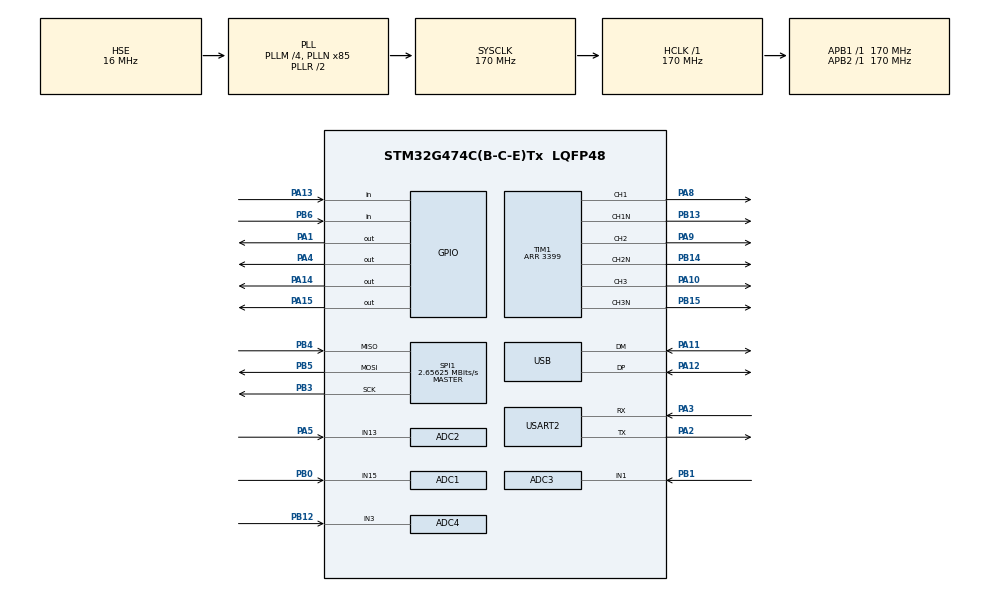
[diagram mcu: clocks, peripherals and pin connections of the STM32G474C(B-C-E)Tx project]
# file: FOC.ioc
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ADC1.ContinuousConvMode=DISABLE
ADC1.DMAContinuousRequests=DISABLE
ADC1.EOCSelection=ADC_EOC_SEQ_CONV
ADC1.EnableInjectedConversion=ENABLE
ADC1.EnableRegularConversion=DISABLE
ADC1.ExternalTrigInjecConv=ADC_EXTERNALTRIGINJEC_T1_TRGO2
ADC1.ExternalTrigInjecConvEdge=ADC_EXTERNALTRIGINJECCONV_EDGE_RISING
ADC1.InjNumberOfConversion=1
ADC1.InjectedChannel-4\#ChannelInjectedConversion=ADC_CHANNEL_15
ADC1.InjectedOffsetNumber-4\#ChannelInjectedConversion=ADC_OFFSET_NONE
ADC1.InjectedRank-4\#ChannelInjectedConversion=1
ADC1.InjectedSamplingTime-4\#ChannelInjectedConversion=ADC_SAMPLETIME_47CYCLES_5
ADC1.master=1
ADC2.ContinuousConvMode=DISABLE
ADC2.DMAContinuousRequests=DISABLE
ADC2.EOCSelection=ADC_EOC_SEQ_CONV
ADC2.EnableInjectedConversion=ENABLE
ADC2.EnableRegularConversion=DISABLE
ADC2.ExternalTrigInjecConv=ADC_EXTERNALTRIGINJEC_T1_TRGO2
ADC2.ExternalTrigInjecConvEdge=ADC_EXTERNALTRIGINJECCONV_EDGE_RISING
ADC2.InjNumberOfConversion=1
ADC2.InjectedChannel-4\#ChannelInjectedConversion=ADC_CHANNEL_13
ADC2.InjectedOffsetNumber-4\#ChannelInjectedConversion=ADC_OFFSET_NONE
ADC2.InjectedRank-4\#ChannelInjectedConversion=1
ADC2.InjectedSamplingTime-4\#ChannelInjectedConversion=ADC_SAMPLETIME_47CYCLES_5
ADC3.ContinuousConvMode=DISABLE
ADC3.DMAContinuousRequests=DISABLE
ADC3.EOCSelection=ADC_EOC_SEQ_CONV
ADC3.EnableInjectedConversion=ENABLE
ADC3.EnableRegularConversion=DISABLE
ADC3.ExternalTrigInjecConv=ADC_EXTERNALTRIGINJEC_T1_TRGO2
ADC3.ExternalTrigInjecConvEdge=ADC_EXTERNALTRIGINJECCONV_EDGE_RISING
ADC3.InjNumberOfConversion=1
ADC3.InjectedChannel-1\#ChannelInjectedConversion=ADC_CHANNEL_1
ADC3.InjectedOffsetNumber-1\#ChannelInjectedConversion=ADC_OFFSET_NONE
ADC3.InjectedRank-1\#ChannelInjectedConversion=1
ADC3.InjectedSamplingTime-1\#ChannelInjectedConversion=ADC_SAMPLETIME_47CYCLES_5
ADC3.master=1
ADC4.Channel-0\#ChannelRegularConversion=ADC_CHANNEL_3
ADC4.NbrOfConversionFlag=1
ADC4.OffsetNumber-0\#ChannelRegularConversion=ADC_OFFSET_NONE
ADC4.Rank-0\#ChannelRegularConversion=1
ADC4.SamplingTime-0\#ChannelRegularConversion=ADC_SAMPLETIME_247CYCLES_5
Dma.Request0=USART2_RX
Dma.Request1=USART2_TX
Dma.Request2=SPI1_RX
Dma.Request3=SPI1_TX
Dma.SPI1_RX.2.Direction=DMA_PERIPH_TO_MEMORY
Dma.SPI1_RX.2.EventEnable=DISABLE
Dma.SPI1_RX.2.Instance=DMA1_Channel4
Dma.SPI1_RX.2.MemDataAlignment=DMA_MDATAALIGN_BYTE
Dma.SPI1_RX.2.MemInc=DMA_MINC_ENABLE
Dma.SPI1_RX.2.Mode=DMA_NORMAL
Dma.SPI1_RX.2.PeriphDataAlignment=DMA_PDATAALIGN_BYTE
Dma.SPI1_RX.2.PeriphInc=DMA_PINC_DISABLE
Dma.SPI1_RX.2.Polarity=HAL_DMAMUX_REQ_GEN_RISING
Dma.SPI1_RX.2.Priority=DMA_PRIORITY_HIGH
Dma.SPI1_RX.2.RequestNumber=1
Dma.SPI1_RX.2.SignalID=NONE
Dma.SPI1_RX.2.SyncEnable=DISABLE
Dma.SPI1_RX.2.SyncPolarity=HAL_DMAMUX_SYNC_NO_EVENT
Dma.SPI1_RX.2.SyncRequestNumber=1
Dma.SPI1_RX.2.SyncSignalID=NONE
Dma.SPI1_TX.3.Direction=DMA_MEMORY_TO_PERIPH
Dma.SPI1_TX.3.EventEnable=DISABLE
Dma.SPI1_TX.3.Instance=DMA1_Channel5
Dma.SPI1_TX.3.MemDataAlignment=DMA_MDATAALIGN_BYTE
Dma.SPI1_TX.3.MemInc=DMA_MINC_ENABLE
Dma.SPI1_TX.3.Mode=DMA_NORMAL
Dma.SPI1_TX.3.PeriphDataAlignment=DMA_PDATAALIGN_BYTE
Dma.SPI1_TX.3.PeriphInc=DMA_PINC_DISABLE
Dma.SPI1_TX.3.Polarity=HAL_DMAMUX_REQ_GEN_RISING
Dma.SPI1_TX.3.Priority=DMA_PRIORITY_HIGH
Dma.SPI1_TX.3.RequestNumber=1
Dma.SPI1_TX.3.SignalID=NONE
Dma.SPI1_TX.3.SyncEnable=DISABLE
Dma.SPI1_TX.3.SyncPolarity=HAL_DMAMUX_SYNC_NO_EVENT
Dma.SPI1_TX.3.SyncRequestNumber=1
Dma.SPI1_TX.3.SyncSignalID=NONE
Dma.USART2_RX.0.Direction=DMA_PERIPH_TO_MEMORY
Dma.USART2_RX.0.EventEnable=DISABLE
Dma.USART2_RX.0.Instance=DMA1_Channel6
Dma.USART2_RX.0.MemDataAlignment=DMA_MDATAALIGN_BYTE
Dma.USART2_RX.0.MemInc=DMA_MINC_ENABLE
Dma.USART2_RX.0.Mode=DMA_NORMAL
Dma.USART2_RX.0.PeriphDataAlignment=DMA_PDATAALIGN_BYTE
Dma.USART2_RX.0.PeriphInc=DMA_PINC_DISABLE
Dma.USART2_RX.0.Polarity=HAL_DMAMUX_REQ_GEN_RISING
Dma.USART2_RX.0.Priority=DMA_PRIORITY_LOW
Dma.USART2_RX.0.RequestNumber=1
Dma.USART2_RX.0.SignalID=NONE
Dma.USART2_RX.0.SyncEnable=DISABLE
Dma.USART2_RX.0.SyncPolarity=HAL_DMAMUX_SYNC_NO_EVENT
Dma.USART2_RX.0.SyncRequestNumber=1
Dma.USART2_RX.0.SyncSignalID=NONE
Dma.USART2_TX.1.Direction=DMA_MEMORY_TO_PERIPH
Dma.USART2_TX.1.EventEnable=DISABLE
Dma.USART2_TX.1.Instance=DMA1_Channel7
Dma.USART2_TX.1.MemDataAlignment=DMA_MDATAALIGN_BYTE
Dma.USART2_TX.1.MemInc=DMA_MINC_ENABLE
Dma.USART2_TX.1.Mode=DMA_NORMAL
Dma.USART2_TX.1.PeriphDataAlignment=DMA_PDATAALIGN_BYTE
Dma.USART2_TX.1.PeriphInc=DMA_PINC_DISABLE
Dma.USART2_TX.1.Polarity=HAL_DMAMUX_REQ_GEN_RISING
Dma.USART2_TX.1.Priority=DMA_PRIORITY_LOW
Dma.USART2_TX.1.RequestNumber=1
Dma.USART2_TX.1.SignalID=NONE
Dma.USART2_TX.1.SyncEnable=DISABLE
Dma.USART2_TX.1.SyncPolarity=HAL_DMAMUX_SYNC_NO_EVENT
Dma.USART2_TX.1.SyncRequestNumber=1
Dma.USART2_TX.1.SyncSignalID=NONE
Mcu.Family=STM32G4
Mcu.Name=STM32G474C(B-C-E)Tx
Mcu.Package=LQFP48
NVIC.ADC1_2_IRQn=true\:0\:0\:false\:false\:true\:true\:true\:true
NVIC.ADC3_IRQn=true\:0\:0\:false\:false\:true\:true\:true\:true
NVIC.ADC4_IRQn=true\:0\:0\:false\:false\:true\:true\:true\:true
NVIC.DMA1_Channel4_IRQn=true\:0\:0\:false\:false\:true\:false\:true\:true
NVIC.DMA1_Channel5_IRQn=true\:0\:0\:false\:false\:true\:false\:true\:true
NVIC.DMA1_Channel6_IRQn=true\:5\:0\:true\:false\:true\:false\:true\:true
NVIC.DMA1_Channel7_IRQn=true\:5\:0\:true\:false\:true\:false\:true\:true
NVIC.PriorityGroup=NVIC_PRIORITYGROUP_4
NVIC.SPI1_IRQn=true\:0\:0\:false\:false\:true\:true\:true\:true
NVIC.TIM1_UP_TIM16_IRQn=true\:1\:0\:true\:false\:true\:true\:true\:true
NVIC.USB_LP_IRQn=true\:2\:0\:true\:false\:true\:false\:true\:true
PA1.Signal=GPIO_Output
PA10.Signal=S_TIM1_CH3
PA11.Mode=Device
PA11.Signal=USB_DM
PA12.Mode=Device
PA12.Signal=USB_DP
PA13.Signal=GPIO_Input
PA14.GPIO_Speed=GPIO_SPEED_FREQ_HIGH
PA14.Signal=GPIO_Output
PA15.Signal=GPIO_Output
PA2.Mode=Asynchronous
PA2.Signal=USART2_TX
PA3.Mode=Asynchronous
PA3.Signal=USART2_RX
PA4.Signal=GPIO_Output
PA5.Mode=IN13-Single-Ended
PA5.Signal=ADC2_IN13
PA8.Signal=S_TIM1_CH1
PA9.Signal=S_TIM1_CH2
PB0.Mode=IN15-Single-Ended
PB0.Signal=ADC1_IN15
PB1.Mode=IN1-Single-Ended
PB1.Signal=ADC3_IN1
PB12.Mode=IN3-Single-Ended
PB12.Signal=ADC4_IN3
PB13.Mode=PWM Generation1 CH1 CH1N
PB13.Signal=TIM1_CH1N
PB14.Mode=PWM Generation2 CH2 CH2N
PB14.Signal=TIM1_CH2N
PB15.Mode=PWM Generation3 CH3 CH3N
PB15.Signal=TIM1_CH3N
PB3.GPIO_Speed=GPIO_SPEED_FREQ_HIGH
PB3.Mode=Full_Duplex_Master
PB3.Signal=SPI1_SCK
PB4.GPIO_Speed=GPIO_SPEED_FREQ_HIGH
PB4.Mode=Full_Duplex_Master
PB4.Signal=SPI1_MISO
PB5.GPIO_Speed=GPIO_SPEED_FREQ_HIGH
PB5.Mode=Full_Duplex_Master
PB5.Signal=SPI1_MOSI
PB6.Signal=GPIO_Input
PF0-OSC_IN.Mode=HSE-External-Oscillator
PF0-OSC_IN.Signal=RCC_OSC_IN
PF1-OSC_OUT.Mode=HSE-External-Oscillator
PF1-OSC_OUT.Signal=RCC_OSC_OUT
ProjectManager.HeapSize=0x200
ProjectManager.StackSize=0x400
ProjectManager.TargetToolchain=STM32CubeIDE
RCC.ADC12Freq_Value=170000000
RCC.ADC345Freq_Value=170000000
RCC.AHBFreq_Value=170000000
RCC.APB1Freq_Value=170000000
RCC.APB1TimFreq_Value=170000000
RCC.APB2Freq_Value=170000000
RCC.APB2TimFreq_Value=170000000
RCC.CK48CLockSelection=RCC_USBCLKSOURCE_HSI48
RCC.CortexFreq_Value=170000000
RCC.EXTERNAL_CLOCK_VALUE=12288000
RCC.HCLKFreq_Value=170000000
RCC.HSE_VALUE=16000000
RCC.HSI48_VALUE=48000000
RCC.HSI_VALUE=16000000
RCC.LSE_VALUE=32768
RCC.PLLM=RCC_PLLM_DIV4
RCC.PLLN=85
RCC.PLLQ=RCC_PLLQ_DIV4
RCC.PLLSourceVirtual=RCC_PLLSOURCE_HSE
RCC.SYSCLKFreq_VALUE=170000000
RCC.SYSCLKSource=RCC_SYSCLKSOURCE_PLLCLK
RCC.USBFreq_Value=48000000
RCC.VCOOutputFreq_Value=340000000
SH.S_TIM1_CH1.0=TIM1_CH1,PWM Generation1 CH1 CH1N
SH.S_TIM1_CH2.0=TIM1_CH2,PWM Generation2 CH2 CH2N
SH.S_TIM1_CH3.0=TIM1_CH3,PWM Generation3 CH3 CH3N
SPI1.BaudRatePrescaler=SPI_BAUDRATEPRESCALER_64
SPI1.CLKPhase=SPI_PHASE_2EDGE
SPI1.CLKPolarity=SPI_POLARITY_LOW
SPI1.CRCCalculation=SPI_CRCCALCULATION_DISABLE
SPI1.CalculateBaudRate=2.65625 MBits/s
SPI1.DataSize=SPI_DATASIZE_8BIT
SPI1.Direction=SPI_DIRECTION_2LINES
SPI1.Mode=SPI_MODE_MASTER
SPI1.VirtualType=VM_MASTER
SYS.VoltageScaling=SYSCFG_VREFBUF_VOLTAGE_SCALE2
TIM1.AutoReloadPreload=TIM_AUTORELOAD_PRELOAD_ENABLE
TIM1.Channel-PWM\ Generation1\ CH1\ CH1N=TIM_CHANNEL_1
TIM1.Channel-PWM\ Generation2\ CH2\ CH2N=TIM_CHANNEL_2
TIM1.Channel-PWM\ Generation3\ CH3\ CH3N=TIM_CHANNEL_3
TIM1.Channel-PWM\ Generation4\ No\ Output=TIM_CHANNEL_4
TIM1.CounterMode=TIM_COUNTERMODE_CENTERALIGNED1
TIM1.DeadTime=40
TIM1.OC1Preload_PWM=DISABLE
TIM1.OC2Preload_PWM=DISABLE
TIM1.OC3Preload_PWM=DISABLE
TIM1.OCMode_PWM-PWM\ Generation1\ CH1\ CH1N=TIM_OCMODE_PWM1
TIM1.OCMode_PWM-PWM\ Generation2\ CH2\ CH2N=TIM_OCMODE_PWM1
TIM1.OCMode_PWM-PWM\ Generation4\ No\ Output=TIM_OCMODE_PWM1
TIM1.OffStateIDLEMode=TIM_OSSI_ENABLE
TIM1.PeriodNoDither=3399
TIM1.PulseNoDither_1=0
TIM1.PulseNoDither_4=95
TIM1.TIM_MasterOutputTrigger=TIM_TRGO_RESET
TIM1.TIM_MasterOutputTrigger2=TIM_TRGO2_OC4REF
TIM1.TIM_MasterSlaveMode=TIM_MASTERSLAVEMODE_DISABLE
USART2.VirtualMode-Asynchronous=VM_ASYNC
USB_DEVICE.CLASS_NAME_FS=CDC
USB_DEVICE.VirtualMode=Cdc
USB_DEVICE.VirtualModeFS=Cdc_FS
VP_CORDIC_VS_CORDIC.Mode=CORDIC_Activate
VP_SYS_VS_DBSignals.Mode=DisableDeadBatterySignals
VP_TIM1_VS_ClockSourceINT.Mode=Internal
VP_TIM1_VS_no_output4.Mode=PWM Generation4 No Output
VP_USB_DEVICE_VS_USB_DEVICE_CDC_FS.Mode=CDC_FS
VREF+.Mode=InternalMode
VREF+.Signal=VREFBUF_OUT
board=custom

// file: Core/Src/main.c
/* USER CODE BEGIN Header */
/**
  ******************************************************************************
  * @file           : main.c
  * @brief          : Main program body
  ******************************************************************************
  * @attention
  *
  * Copyright (c) 2026 STMicroelectronics.
  * All rights reserved.
  *
  * This software is licensed under terms that can be found in the LICENSE file
  * in the root directory of this software component.
  * If no LICENSE file comes with this software, it is provided AS-IS.
  *
  ******************************************************************************
  */
/* USER CODE END Header */
#include "main.h"
#include "adc.h"
#include "cordic.h"
#include "dma.h"
#include "spi.h"
#include "tim.h"
#include "usart.h"
#include "usb_device.h"
#include "gpio.h"

/* USER CODE BEGIN Includes */

#include "mt6835.h"
#include "drv8323s.h"
#include "config.h"
#include "serial.h"
#include "foc.h"
#include "usb.h"
#include <string.h>
#include "servo.h"
#include "constants.h"
#include <math.h>

/* USER CODE END Includes */

/* USER CODE BEGIN PV */

volatile bool uart_available = false;
volatile bool usb_available = false;

bool foc_enabled = false;
bool foc_calibrated = false;

uint32_t foc_calibration_counter = 0;

uint32_t encoder_read_cycle = 0;

/* USER CODE END PV */

void SystemClock_Config(void);

/* USER CODE BEGIN 0 */

void DWT_Init(void)
{
  CoreDebug->DEMCR |= CoreDebug_DEMCR_TRCENA_Msk;
  DWT->CYCCNT = 0;
  DWT->CTRL |= DWT_CTRL_CYCCNTENA_Msk;
}

void HAL_SPI_TxRxCpltCallback(SPI_HandleTypeDef *_hspi)
{
  if(_hspi == &hspi1) {
    MT6835_Callback();
  }
}

void HAL_ADCEx_InjectedConvCpltCallback(ADC_HandleTypeDef *hadc)
{
  FOC_ADC_Callback(hadc);
}

bool fault = false;

float v_d = 0.0f;

uint8_t foc_loop_counter = 0;

/* USER CODE END 0 */

int main(void)
{

  /* MCU Configuration--------------------------------------------------------*/

  /* Reset of all peripherals, Initializes the Flash interface and the Systick. */
  HAL_Init();

  /* Configure the system clock */
  SystemClock_Config();

  /* Initialize all configured peripherals */
  MX_GPIO_Init();
  MX_DMA_Init();
  MX_ADC1_Init();
  MX_ADC3_Init();
  MX_ADC4_Init();
  MX_CORDIC_Init();
  MX_SPI1_Init();
  MX_TIM1_Init();
  MX_USART2_UART_Init();
  MX_USB_Device_Init();
  MX_ADC2_Init();
  /* USER CODE BEGIN 2 */

  __HAL_TIM_MOE_DISABLE(&htim1);  // low timer outputi

  DWT_Init();

  MT6835_Init(&hspi1);

  HAL_ADCEx_Calibration_Start(&hadc1, ADC_SINGLE_ENDED);
  HAL_ADCEx_Calibration_Start(&hadc2, ADC_SINGLE_ENDED);
  HAL_ADCEx_Calibration_Start(&hadc3, ADC_SINGLE_ENDED);
  HAL_ADCEx_Calibration_Start(&hadc4, ADC_SINGLE_ENDED);

  UART_Serial_Init(&huart2, &uart_available);

  USB_Serial_Init(&usb_available);

  Servo_Init();

  CORDIC_SetRotationMode();

  DRV8323_Init(&hspi1);

  HAL_SPI_DeInit(&hspi1);
  hspi1.Instance = SPI1;
  hspi1.Init.Mode = SPI_MODE_MASTER;
  hspi1.Init.Direction = SPI_DIRECTION_2LINES;
  hspi1.Init.DataSize = SPI_DATASIZE_8BIT;
  hspi1.Init.CLKPolarity = SPI_POLARITY_HIGH;
  hspi1.Init.CLKPhase = SPI_PHASE_2EDGE;
  hspi1.Init.NSS = SPI_NSS_SOFT;
  hspi1.Init.BaudRatePrescaler = SPI_BAUDRATEPRESCALER_16;
  hspi1.Init.FirstBit = SPI_FIRSTBIT_MSB;
  hspi1.Init.TIMode = SPI_TIMODE_DISABLE;
  hspi1.Init.CRCCalculation = SPI_CRCCALCULATION_DISABLE;
  hspi1.Init.CRCPolynomial = 7;
  hspi1.Init.CRCLength = SPI_CRC_LENGTH_DATASIZE;
  hspi1.Init.NSSPMode = SPI_NSS_PULSE_DISABLE;
  if (HAL_SPI_Init(&hspi1) != HAL_OK)
  {
    Error_Handler();
  }

  #ifdef RA
  FOC_Init(&hadc1, &hadc3, &hadc2);
  #else
  FOC_Init(&hadc2, &hadc1, &hadc3);
  #endif

  HAL_ADCEx_InjectedStart_IT(&hadc1);
  HAL_ADCEx_InjectedStart_IT(&hadc2);
  HAL_ADCEx_InjectedStart_IT(&hadc3);

  TIM1->CCR1 = 0;
  TIM1->CCR2 = 0;
  TIM1->CCR3 = 0;

  HAL_TIM_Base_Start_IT(&htim1);

  HAL_TIM_PWM_Start(&htim1, TIM_CHANNEL_1);
  HAL_TIMEx_PWMN_Start(&htim1, TIM_CHANNEL_1);

  HAL_TIM_PWM_Start(&htim1, TIM_CHANNEL_2);
  HAL_TIMEx_PWMN_Start(&htim1, TIM_CHANNEL_2);

  HAL_TIM_PWM_Start(&htim1, TIM_CHANNEL_3);
  HAL_TIMEx_PWMN_Start(&htim1, TIM_CHANNEL_3);

  HAL_TIM_PWM_Start(&htim1, TIM_CHANNEL_4);

  TIM1->CCR1 = 0;
  TIM1->CCR2 = 0;
  TIM1->CCR3 = 0;

  foc_enabled = true;

  /* USER CODE END 2 */

  /* Infinite loop */
  /* USER CODE BEGIN WHILE */

  uint32_t millis = DWT->CYCCNT >> 17;

  while (1) {

    if((DWT->CYCCNT >> 17) - millis > 200) {

      millis = DWT->CYCCNT >> 17;

      fault = !((bool)HAL_GPIO_ReadPin(GPIOB, GPIO_PIN_6));

      foc_enabled = !fault;

      if(fault) {
        HAL_SPI_DeInit(&hspi1);
        hspi1.Init.CLKPolarity = SPI_POLARITY_LOW;
        hspi1.Init.BaudRatePrescaler = SPI_BAUDRATEPRESCALER_64;
        if (HAL_SPI_Init(&hspi1) != HAL_OK)
        {
          Error_Handler();
        }

        HAL_Delay(50);

        uint16_t fault1 = 0;
        DRV8323_ReadRegister(DRV8323_REG_GATE_HS, &fault1);
        uint16_t fault2 = 0;
        DRV8323_ReadRegister(DRV8323_REG_GATE_LS, &fault2);
        uint32_t fault_regs = ((uint32_t)fault1 << 16) | (uint32_t)fault2;

        uint8_t c[32] = {0};
        uint16_t lenc = u64ToHex(fault_regs, c);
        c[lenc++] = 'x';
        c[lenc++] = '\n';
        usb_serial.print(c, lenc);

        HAL_SPI_DeInit(&hspi1);
        hspi1.Init.CLKPolarity = SPI_POLARITY_HIGH;
        hspi1.Init.BaudRatePrescaler = SPI_BAUDRATEPRESCALER_16;
        if (HAL_SPI_Init(&hspi1) != HAL_OK)
        {
          Error_Handler();
        }

        HAL_Delay(50);
      }

	    if(uart_available) {
	    	handle_serial(&uart_serial);
	    }
	    if(usb_available) {
	    	handle_serial(&usb_serial);
	    }
    }
    /* USER CODE END WHILE */

  }
}

void SystemClock_Config(void)
{
  RCC_OscInitTypeDef RCC_OscInitStruct = {0};
  RCC_ClkInitTypeDef RCC_ClkInitStruct = {0};

  /** Configure the main internal regulator output voltage
  */
  HAL_PWREx_ControlVoltageScaling(PWR_REGULATOR_VOLTAGE_SCALE1_BOOST);

  /** Initializes the RCC Oscillators according to the specified parameters
  * in the RCC_OscInitTypeDef structure.
  */
  RCC_OscInitStruct.OscillatorType = RCC_OSCILLATORTYPE_HSI48|RCC_OSCILLATORTYPE_HSE;
  RCC_OscInitStruct.HSEState = RCC_HSE_ON;
  RCC_OscInitStruct.HSI48State = RCC_HSI48_ON;
  RCC_OscInitStruct.PLL.PLLState = RCC_PLL_ON;
  RCC_OscInitStruct.PLL.PLLSource = RCC_PLLSOURCE_HSE;
  RCC_OscInitStruct.PLL.PLLM = RCC_PLLM_DIV4;
  RCC_OscInitStruct.PLL.PLLN = 85;
  RCC_OscInitStruct.PLL.PLLP = RCC_PLLP_DIV2;
  RCC_OscInitStruct.PLL.PLLQ = RCC_PLLQ_DIV4;
  RCC_OscInitStruct.PLL.PLLR = RCC_PLLR_DIV2;
  if (HAL_RCC_OscConfig(&RCC_OscInitStruct) != HAL_OK)
  {
    Error_Handler();
  }

  /** Initializes the CPU, AHB and APB buses clocks
  */
  RCC_ClkInitStruct.ClockType = RCC_CLOCKTYPE_HCLK|RCC_CLOCKTYPE_SYSCLK
                              |RCC_CLOCKTYPE_PCLK1|RCC_CLOCKTYPE_PCLK2;
  RCC_ClkInitStruct.SYSCLKSource = RCC_SYSCLKSOURCE_PLLCLK;
  RCC_ClkInitStruct.AHBCLKDivider = RCC_SYSCLK_DIV1;
  RCC_ClkInitStruct.APB1CLKDivider = RCC_HCLK_DIV1;
  RCC_ClkInitStruct.APB2CLKDivider = RCC_HCLK_DIV1;

  if (HAL_RCC_ClockConfig(&RCC_ClkInitStruct, FLASH_LATENCY_4) != HAL_OK)
  {
    Error_Handler();
  }
}

/* USER CODE BEGIN 4 */

void HAL_TIM_PeriodElapsedCallback(TIM_HandleTypeDef *htim)
{
  if (htim->Instance != TIM1 || fault || !foc_enabled) {
    return;
  }

  if(htim->Instance->CR1 & TIM_CR1_DIR) {   // štetje dol, sredina pwm-ja
    encoder_read_cycle = DWT->CYCCNT;
    MT6835_FetchAngle();
  } else {
    if(!foc_calibrated) {
      FOC_Calibrate_ADCs();

      if(foc_calibration_counter++ > 1000) {
        foc_calibrated = true;
      }

      return;
    }

    foc_loop_counter = 0;
    FOC_Loop();
  }
}

/* USER CODE END 4 */

void Error_Handler(void)
{
  __disable_irq();
  while(1) {}
}
